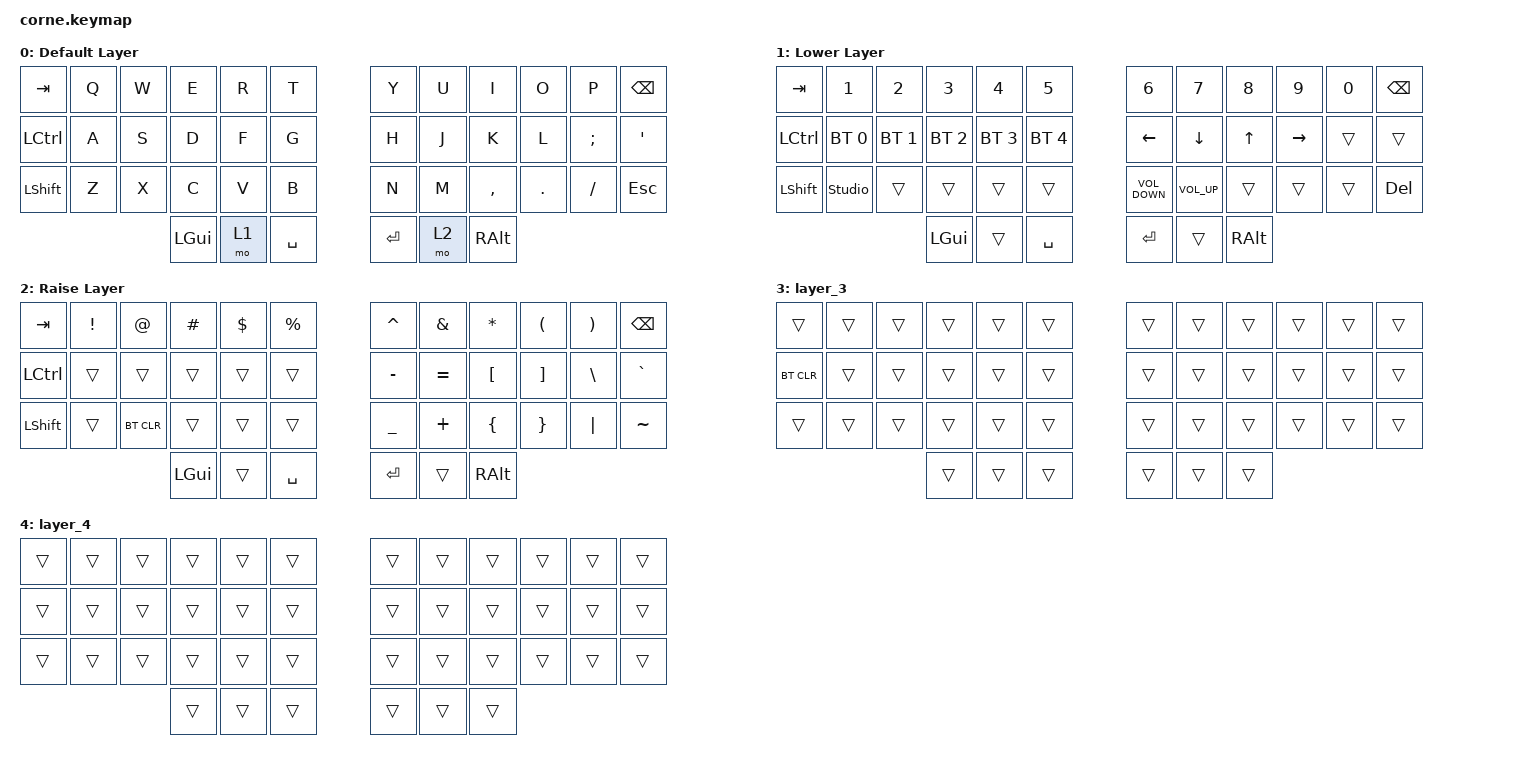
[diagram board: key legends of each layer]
/*
 * Copyright (c) 2020 The ZMK Contributors
 *
 * SPDX-License-Identifier: MIT
 */

#include <behaviors.dtsi>
#include <dt-bindings/zmk/bt.h>
#include <dt-bindings/zmk/keys.h>

/ {
    combos {
        compatible = "zmk,combos";

        copy {
            bindings = <&copy_win>;
            key-positions = <14 15>;
        };

        paste {
            bindings = <&paste_win>;
            key-positions = <15 16>;
        };
    };

    macros {
        copy_mac: m_copy {
            compatible = "zmk,behavior-macro";
            #binding-cells = <0>;
            bindings =
                <&macro_press>,
                <&kp LEFT_COMMAND>,
                <&macro_tap>,
                <&kp C>,
                <&macro_release>,
                <&kp LEFT_COMMAND>;

            label = "M_COPY";
        };

        paste_mac: m_paste {
            compatible = "zmk,behavior-macro";
            #binding-cells = <0>;
            bindings =
                <&macro_press>,
                <&kp LEFT_COMMAND>,
                <&macro_tap>,
                <&kp V>,
                <&macro_release>,
                <&kp LEFT_COMMAND>;

            label = "M_PASTE";
        };

        copy_win: copy_win {
            compatible = "zmk,behavior-macro";
            #binding-cells = <0>;
            bindings =
                <&macro_press>,
                <&kp LEFT_CONTROL>,
                <&macro_tap>,
                <&kp C>,
                <&macro_release>,
                <&kp LEFT_CONTROL>;

            label = "COPY_WIN";
        };

        paste_win: paste_win {
            compatible = "zmk,behavior-macro";
            #binding-cells = <0>;
            bindings =
                <&macro_press>,
                <&kp LEFT_CONTROL>,
                <&macro_tap>,
                <&kp V>,
                <&macro_release>,
                <&kp LEFT_CONTROL>;

            label = "PASTE_WIN";
        };
    };

    keymap {
        compatible = "zmk,keymap";

        default_layer {
            display-name = "Default Layer";

            // -----------------------------------------------------------------------------------------
            // |  TAB |  Q  |  W  |  E  |  R  |  T  |   |  Y  |  U   |  I  |  O  |  P  | BSPC |
            // | CTRL |  A  |  S  |  D  |  F  |  G  |   |  H  |  J   |  K  |  L  |  ;  |  '   |
            // | SHFT |  Z  |  X  |  C  |  V  |  B  |   |  N  |  M   |  ,  |  .  |  /  | ESC  |
            //                    | GUI | LWR | SPC |   | ENT | RSE  | ALT |

            bindings = <
&kp TAB    &kp Q  &kp W  &kp E     &kp R  &kp T        &kp Y    &kp U  &kp I      &kp O    &kp P     &kp BSPC
&kp LCTRL  &kp A  &kp S  &kp D     &kp F  &kp G        &kp H    &kp J  &kp K      &kp L    &kp SEMI  &kp SQT
&kp LSHFT  &kp Z  &kp X  &kp C     &kp V  &kp B        &kp N    &kp M  &kp COMMA  &kp DOT  &kp FSLH  &kp ESC
                         &kp LGUI  &mo 1  &kp SPACE    &kp RET  &mo 2  &kp RALT
            >;
        };

        lower_layer {
            display-name = "Lower Layer";

            // -----------------------------------------------------------------------------------------
            // |  TAB |  1  |  2  |  3  |  4  |  5  |   |  6  |  7  |  8  |  9  |  0  | BSPC |
            // | BTCLR| BT1 | BT2 | BT3 | BT4 | BT5 |   | LFT | DWN |  UP | RGT |     |      |
            // | SHFT |     |     |     |     |     |   |     |     |     |     |     |      |
            //                    | GUI |     | SPC |   | ENT |     | ALT |

            bindings = <
&kp TAB           &kp N1          &kp N2        &kp N3        &kp N4        &kp N5          &kp N6             &kp N7           &kp N8    &kp N9     &kp N0  &kp BSPC
&kp LEFT_CONTROL  &bt BT_SEL 0    &bt BT_SEL 1  &bt BT_SEL 2  &bt BT_SEL 3  &bt BT_SEL 4    &kp LEFT           &kp DOWN         &kp UP    &kp RIGHT  &trans  &trans
&kp LSHFT         &studio_unlock  &trans        &trans        &trans        &trans          &kp C_VOLUME_DOWN  &kp C_VOLUME_UP  &trans    &trans     &trans  &kp DELETE
                                                &kp LGUI      &trans        &kp SPACE       &kp RET            &trans           &kp RALT
            >;
        };

        raise_layer {
            display-name = "Raise Layer";

            // -----------------------------------------------------------------------------------------
            // |  TAB |  !  |  @  |  #  |  $  |  %  |   |  ^  |  &  |  *  |  (  |  )  | BSPC |
            // | CTRL |     |     |     |     |     |   |  -  |  =  |  [  |  ]  |  \  |  `   |
            // | SHFT |     |     |     |     |     |   |  _  |  +  |  {  |  }  | "|" |  ~   |
            //                    | GUI |     | SPC |   | ENT |     | ALT |

            bindings = <
&kp TAB    &kp EXCL  &kp AT      &kp HASH  &kp DLLR  &kp PRCNT    &kp CARET  &kp AMPS   &kp ASTRK  &kp LPAR  &kp RPAR  &kp BSPC
&kp LCTRL  &trans    &trans      &trans    &trans    &trans       &kp MINUS  &kp EQUAL  &kp LBKT   &kp RBKT  &kp BSLH  &kp GRAVE
&kp LSHFT  &trans    &bt BT_CLR  &trans    &trans    &trans       &kp UNDER  &kp PLUS   &kp LBRC   &kp RBRC  &kp PIPE  &kp TILDE
                                 &kp LGUI  &trans    &kp SPACE    &kp RET    &trans     &kp RALT
            >;
        };

        layer_3 {
            bindings = <
&trans      &trans  &trans  &trans  &trans  &trans    &trans  &trans  &trans  &trans  &trans  &trans
&bt BT_CLR  &trans  &trans  &trans  &trans  &trans    &trans  &trans  &trans  &trans  &trans  &trans
&trans      &trans  &trans  &trans  &trans  &trans    &trans  &trans  &trans  &trans  &trans  &trans
                            &trans  &trans  &trans    &trans  &trans  &trans
            >;
        };

        layer_4 {
            bindings = <
&trans  &trans  &trans  &trans  &trans  &trans    &trans  &trans  &trans  &trans  &trans  &trans
&trans  &trans  &trans  &trans  &trans  &trans    &trans  &trans  &trans  &trans  &trans  &trans
&trans  &trans  &trans  &trans  &trans  &trans    &trans  &trans  &trans  &trans  &trans  &trans
                        &trans  &trans  &trans    &trans  &trans  &trans
            >;
        };
    };
};
